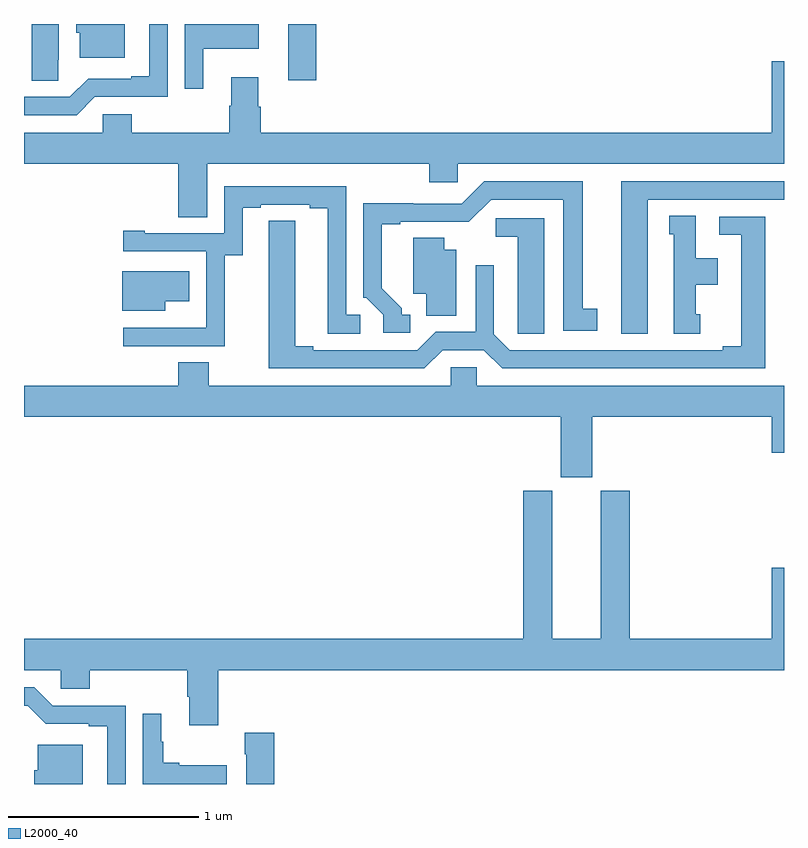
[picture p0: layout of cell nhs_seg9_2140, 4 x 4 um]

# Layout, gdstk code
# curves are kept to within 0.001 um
import gdstk
lib = gdstk.Library(unit=1e-6, precision=1e-09)
def R(c, l, rs):  # rectangles x0, y0, x1, y1
    for r in rs: c.add(gdstk.rectangle(r[:2], r[2:], *l))
def P(c, l, *ps):  # polygons
    for p in ps: c.add(gdstk.Polygon(p, *l))
L2000_40 = (2000, 40)

nhs_seg9_2140 = lib.new_cell('nhs_seg9_2140')
R(nhs_seg9_2140, L2000_40, [(234.392,1186.203,234.539,1186.5)])
P(nhs_seg9_2140, L2000_40, [(233.181,1186.312),(233.182,1186.312),(233.182,1186.5),(233.042,1186.5),(233.042,1186.201),(233.181,1186.201)],
  [(233.944,1186.37),(234.235,1186.37),(234.235,1186.5),(233.847,1186.5),(233.847,1186.158),(233.944,1186.158)],
  [(233.53,1186.5),(233.276,1186.5),(233.276,1186.455),(233.294,1186.455),(233.294,1186.322),(233.53,1186.322)],
  [(233.373,1186.116),(233.757,1186.116),(233.757,1186.5),(233.66,1186.5),(233.66,1186.225),(233.564,1186.225),(233.564,1186.212),(233.337,1186.212),(233.241,1186.116),(233,1186.116),(233,1186.02),(233.277,1186.02)],
  [(233.965,1185.764),(235.133,1185.764),(235.133,1185.666),(235.284,1185.666),(235.284,1185.764),(237,1185.764),(237,1186.303),(236.936,1186.303),(236.936,1185.928),(234.245,1185.928),(234.245,1186.065),(234.232,1186.065),(234.232,1186.219),(234.092,1186.219),(234.092,1186.07),(234.08,1186.07),(234.08,1185.928),(233.567,1185.928),(233.567,1186.026),(233.415,1186.026),(233.415,1185.928),(233,1185.928),(233,1185.764),(233.813,1185.764),(233.813,1185.484),(233.965,1185.484)],
  [(236.284,1185.576),(237,1185.576),(237,1185.672),(236.144,1185.672),(236.144,1184.871),(236.284,1184.871)],
  [(235.033,1184.97),(234.988,1184.97),(234.988,1185.005),(234.883,1185.11),(234.883,1185.447),(234.979,1185.447),(234.979,1185.459),(235.34,1185.458),(235.458,1185.576),(235.838,1185.576),(235.838,1184.886),(236.017,1184.886),(236.017,1185.002),(235.942,1185.002),(235.942,1185.672),(235.422,1185.672),(235.305,1185.555),(235.049,1185.555),(235.049,1185.557),(234.786,1185.557),(234.786,1185.06),(234.801,1185.06),(234.891,1184.97),(234.891,1184.874),(235.033,1184.874)],
  [(234.057,1185.283),(234.151,1185.283),(234.151,1185.534),(234.247,1185.534),(234.247,1185.549),(234.503,1185.549),(234.503,1185.529),(234.599,1185.529),(234.599,1184.869),(234.769,1184.869),(234.769,1184.97),(234.696,1184.97),(234.696,1185.645),(234.054,1185.645),(234.054,1185.399),(233.635,1185.399),(233.635,1185.412),(233.523,1185.412),(233.523,1185.303),(233.958,1185.303),(233.958,1184.902),(233.957,1184.902),(233.957,1184.901),(233.523,1184.901),(233.523,1184.805),(234.057,1184.805)],
  [(236.56,1184.973),(236.536,1184.973),(236.536,1185.128),(236.65,1185.128),(236.65,1185.268),(236.536,1185.268),(236.536,1185.491),(236.396,1185.491),(236.396,1185.393),(236.42,1185.393),(236.42,1184.871),(236.56,1184.871)],
  [(235.203,1184.784),(235.421,1184.784),(235.517,1184.688),(236.902,1184.688),(236.902,1185.486),(236.658,1185.486),(236.658,1185.39),(236.774,1185.39),(236.774,1184.804),(236.678,1184.804),(236.678,1184.784),(235.557,1184.784),(235.473,1184.868),(235.473,1185.229),(235.377,1185.229),(235.377,1184.88),(235.167,1184.88),(235.071,1184.784),(234.523,1184.784),(234.523,1184.804),(234.427,1184.804),(234.427,1185.464),(234.288,1185.464),(234.287,1184.688),(235.107,1184.688)],
  [(235.738,1185.477),(235.482,1185.477),(235.482,1185.38),(235.598,1185.38),(235.598,1184.977),(235.599,1184.977),(235.599,1184.869),(235.738,1184.869)],
  [(235.276,1185.313),(235.213,1185.313),(235.213,1185.374),(235.049,1185.374),(235.049,1185.08),(235.118,1185.08),(235.118,1184.965),(235.276,1184.965)],
  [(233.743,1185.041),(233.869,1185.041),(233.869,1185.199),(233.516,1185.199),(233.516,1184.99),(233.743,1184.99)],
  [(235.99,1184.432),(236.936,1184.432),(236.936,1184.244),(237,1184.244),(237,1184.596),(235.383,1184.596),(235.383,1184.694),(235.245,1184.694),(235.245,1184.596),(233.973,1184.596),(233.973,1184.72),(233.813,1184.72),(233.813,1184.596),(233,1184.596),(233,1184.432),(235.826,1184.432),(235.826,1184.115),(235.99,1184.115)],
  [(234.023,1183.1),(237,1183.1),(237,1183.639),(236.936,1183.639),(236.936,1183.264),(236.189,1183.264),(236.189,1184.043),(236.036,1184.043),(236.036,1183.264),(235.78,1183.264),(235.78,1184.043),(235.628,1184.043),(235.628,1183.264),(233,1183.264),(233,1183.1),(233.193,1183.1),(233.193,1183.002),(233.345,1183.002),(233.345,1183.1),(233.858,1183.1),(233.858,1182.958),(233.87,1182.958),(233.87,1182.81),(234.023,1182.81)],
  [(233.535,1182.912),(233.151,1182.912),(233.055,1183.008),(233,1183.008),(233,1182.912),(233.019,1182.912),(233.115,1182.816),(233.342,1182.816),(233.342,1182.804),(233.438,1182.804),(233.438,1182.5),(233.535,1182.5)],
  [(234.067,1182.598),(233.818,1182.598),(233.818,1182.611),(233.734,1182.611),(233.734,1182.722),(233.722,1182.722),(233.722,1182.871),(233.625,1182.871),(233.625,1182.5),(234.067,1182.5)],
  [(234.317,1182.769),(234.163,1182.769),(234.163,1182.656),(234.17,1182.656),(234.17,1182.5),(234.317,1182.5)],
  [(233.308,1182.706),(233.072,1182.706),(233.072,1182.573),(233.054,1182.573),(233.054,1182.5),(233.308,1182.5)])

lib.write_gds('nhs_seg9_2140.gds')
